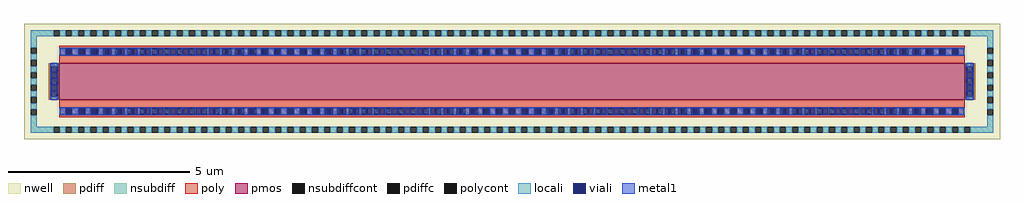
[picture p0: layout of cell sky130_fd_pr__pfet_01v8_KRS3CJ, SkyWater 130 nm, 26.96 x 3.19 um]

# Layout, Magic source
magic
tech sky130A
magscale 1 2
<< nwell >>
rect -2696 -319 2696 319
<< pmos >>
rect -2500 -100 2500 100
<< pdiff >>
rect -2558 85 -2500 100
rect -2558 51 -2546 85
rect -2512 51 -2500 85
rect -2558 17 -2500 51
rect -2558 -17 -2546 17
rect -2512 -17 -2500 17
rect -2558 -51 -2500 -17
rect -2558 -85 -2546 -51
rect -2512 -85 -2500 -51
rect -2558 -100 -2500 -85
rect 2500 85 2558 100
rect 2500 51 2512 85
rect 2546 51 2558 85
rect 2500 17 2558 51
rect 2500 -17 2512 17
rect 2546 -17 2558 17
rect 2500 -51 2558 -17
rect 2500 -85 2512 -51
rect 2546 -85 2558 -51
rect 2500 -100 2558 -85
<< pdiffc >>
rect -2546 51 -2512 85
rect -2546 -17 -2512 17
rect -2546 -85 -2512 -51
rect 2512 51 2546 85
rect 2512 -17 2546 17
rect 2512 -85 2546 -51
<< nsubdiff >>
rect -2660 249 -2533 283
rect -2499 249 -2465 283
rect -2431 249 -2397 283
rect -2363 249 -2329 283
rect -2295 249 -2261 283
rect -2227 249 -2193 283
rect -2159 249 -2125 283
rect -2091 249 -2057 283
rect -2023 249 -1989 283
rect -1955 249 -1921 283
rect -1887 249 -1853 283
rect -1819 249 -1785 283
rect -1751 249 -1717 283
rect -1683 249 -1649 283
rect -1615 249 -1581 283
rect -1547 249 -1513 283
rect -1479 249 -1445 283
rect -1411 249 -1377 283
rect -1343 249 -1309 283
rect -1275 249 -1241 283
rect -1207 249 -1173 283
rect -1139 249 -1105 283
rect -1071 249 -1037 283
rect -1003 249 -969 283
rect -935 249 -901 283
rect -867 249 -833 283
rect -799 249 -765 283
rect -731 249 -697 283
rect -663 249 -629 283
rect -595 249 -561 283
rect -527 249 -493 283
rect -459 249 -425 283
rect -391 249 -357 283
rect -323 249 -289 283
rect -255 249 -221 283
rect -187 249 -153 283
rect -119 249 -85 283
rect -51 249 -17 283
rect 17 249 51 283
rect 85 249 119 283
rect 153 249 187 283
rect 221 249 255 283
rect 289 249 323 283
rect 357 249 391 283
rect 425 249 459 283
rect 493 249 527 283
rect 561 249 595 283
rect 629 249 663 283
rect 697 249 731 283
rect 765 249 799 283
rect 833 249 867 283
rect 901 249 935 283
rect 969 249 1003 283
rect 1037 249 1071 283
rect 1105 249 1139 283
rect 1173 249 1207 283
rect 1241 249 1275 283
rect 1309 249 1343 283
rect 1377 249 1411 283
rect 1445 249 1479 283
rect 1513 249 1547 283
rect 1581 249 1615 283
rect 1649 249 1683 283
rect 1717 249 1751 283
rect 1785 249 1819 283
rect 1853 249 1887 283
rect 1921 249 1955 283
rect 1989 249 2023 283
rect 2057 249 2091 283
rect 2125 249 2159 283
rect 2193 249 2227 283
rect 2261 249 2295 283
rect 2329 249 2363 283
rect 2397 249 2431 283
rect 2465 249 2499 283
rect 2533 249 2660 283
rect -2660 187 -2626 249
rect -2660 119 -2626 153
rect 2626 187 2660 249
rect 2626 119 2660 153
rect -2660 51 -2626 85
rect -2660 -17 -2626 17
rect -2660 -85 -2626 -51
rect 2626 51 2660 85
rect 2626 -17 2660 17
rect 2626 -85 2660 -51
rect -2660 -153 -2626 -119
rect -2660 -249 -2626 -187
rect 2626 -153 2660 -119
rect 2626 -249 2660 -187
rect -2660 -283 -2533 -249
rect -2499 -283 -2465 -249
rect -2431 -283 -2397 -249
rect -2363 -283 -2329 -249
rect -2295 -283 -2261 -249
rect -2227 -283 -2193 -249
rect -2159 -283 -2125 -249
rect -2091 -283 -2057 -249
rect -2023 -283 -1989 -249
rect -1955 -283 -1921 -249
rect -1887 -283 -1853 -249
rect -1819 -283 -1785 -249
rect -1751 -283 -1717 -249
rect -1683 -283 -1649 -249
rect -1615 -283 -1581 -249
rect -1547 -283 -1513 -249
rect -1479 -283 -1445 -249
rect -1411 -283 -1377 -249
rect -1343 -283 -1309 -249
rect -1275 -283 -1241 -249
rect -1207 -283 -1173 -249
rect -1139 -283 -1105 -249
rect -1071 -283 -1037 -249
rect -1003 -283 -969 -249
rect -935 -283 -901 -249
rect -867 -283 -833 -249
rect -799 -283 -765 -249
rect -731 -283 -697 -249
rect -663 -283 -629 -249
rect -595 -283 -561 -249
rect -527 -283 -493 -249
rect -459 -283 -425 -249
rect -391 -283 -357 -249
rect -323 -283 -289 -249
rect -255 -283 -221 -249
rect -187 -283 -153 -249
rect -119 -283 -85 -249
rect -51 -283 -17 -249
rect 17 -283 51 -249
rect 85 -283 119 -249
rect 153 -283 187 -249
rect 221 -283 255 -249
rect 289 -283 323 -249
rect 357 -283 391 -249
rect 425 -283 459 -249
rect 493 -283 527 -249
rect 561 -283 595 -249
rect 629 -283 663 -249
rect 697 -283 731 -249
rect 765 -283 799 -249
rect 833 -283 867 -249
rect 901 -283 935 -249
rect 969 -283 1003 -249
rect 1037 -283 1071 -249
rect 1105 -283 1139 -249
rect 1173 -283 1207 -249
rect 1241 -283 1275 -249
rect 1309 -283 1343 -249
rect 1377 -283 1411 -249
rect 1445 -283 1479 -249
rect 1513 -283 1547 -249
rect 1581 -283 1615 -249
rect 1649 -283 1683 -249
rect 1717 -283 1751 -249
rect 1785 -283 1819 -249
rect 1853 -283 1887 -249
rect 1921 -283 1955 -249
rect 1989 -283 2023 -249
rect 2057 -283 2091 -249
rect 2125 -283 2159 -249
rect 2193 -283 2227 -249
rect 2261 -283 2295 -249
rect 2329 -283 2363 -249
rect 2397 -283 2431 -249
rect 2465 -283 2499 -249
rect 2533 -283 2660 -249
<< nsubdiffcont >>
rect -2533 249 -2499 283
rect -2465 249 -2431 283
rect -2397 249 -2363 283
rect -2329 249 -2295 283
rect -2261 249 -2227 283
rect -2193 249 -2159 283
rect -2125 249 -2091 283
rect -2057 249 -2023 283
rect -1989 249 -1955 283
rect -1921 249 -1887 283
rect -1853 249 -1819 283
rect -1785 249 -1751 283
rect -1717 249 -1683 283
rect -1649 249 -1615 283
rect -1581 249 -1547 283
rect -1513 249 -1479 283
rect -1445 249 -1411 283
rect -1377 249 -1343 283
rect -1309 249 -1275 283
rect -1241 249 -1207 283
rect -1173 249 -1139 283
rect -1105 249 -1071 283
rect -1037 249 -1003 283
rect -969 249 -935 283
rect -901 249 -867 283
rect -833 249 -799 283
rect -765 249 -731 283
rect -697 249 -663 283
rect -629 249 -595 283
rect -561 249 -527 283
rect -493 249 -459 283
rect -425 249 -391 283
rect -357 249 -323 283
rect -289 249 -255 283
rect -221 249 -187 283
rect -153 249 -119 283
rect -85 249 -51 283
rect -17 249 17 283
rect 51 249 85 283
rect 119 249 153 283
rect 187 249 221 283
rect 255 249 289 283
rect 323 249 357 283
rect 391 249 425 283
rect 459 249 493 283
rect 527 249 561 283
rect 595 249 629 283
rect 663 249 697 283
rect 731 249 765 283
rect 799 249 833 283
rect 867 249 901 283
rect 935 249 969 283
rect 1003 249 1037 283
rect 1071 249 1105 283
rect 1139 249 1173 283
rect 1207 249 1241 283
rect 1275 249 1309 283
rect 1343 249 1377 283
rect 1411 249 1445 283
rect 1479 249 1513 283
rect 1547 249 1581 283
rect 1615 249 1649 283
rect 1683 249 1717 283
rect 1751 249 1785 283
rect 1819 249 1853 283
rect 1887 249 1921 283
rect 1955 249 1989 283
rect 2023 249 2057 283
rect 2091 249 2125 283
rect 2159 249 2193 283
rect 2227 249 2261 283
rect 2295 249 2329 283
rect 2363 249 2397 283
rect 2431 249 2465 283
rect 2499 249 2533 283
rect -2660 153 -2626 187
rect -2660 85 -2626 119
rect 2626 153 2660 187
rect -2660 17 -2626 51
rect -2660 -51 -2626 -17
rect -2660 -119 -2626 -85
rect 2626 85 2660 119
rect 2626 17 2660 51
rect 2626 -51 2660 -17
rect -2660 -187 -2626 -153
rect 2626 -119 2660 -85
rect 2626 -187 2660 -153
rect -2533 -283 -2499 -249
rect -2465 -283 -2431 -249
rect -2397 -283 -2363 -249
rect -2329 -283 -2295 -249
rect -2261 -283 -2227 -249
rect -2193 -283 -2159 -249
rect -2125 -283 -2091 -249
rect -2057 -283 -2023 -249
rect -1989 -283 -1955 -249
rect -1921 -283 -1887 -249
rect -1853 -283 -1819 -249
rect -1785 -283 -1751 -249
rect -1717 -283 -1683 -249
rect -1649 -283 -1615 -249
rect -1581 -283 -1547 -249
rect -1513 -283 -1479 -249
rect -1445 -283 -1411 -249
rect -1377 -283 -1343 -249
rect -1309 -283 -1275 -249
rect -1241 -283 -1207 -249
rect -1173 -283 -1139 -249
rect -1105 -283 -1071 -249
rect -1037 -283 -1003 -249
rect -969 -283 -935 -249
rect -901 -283 -867 -249
rect -833 -283 -799 -249
rect -765 -283 -731 -249
rect -697 -283 -663 -249
rect -629 -283 -595 -249
rect -561 -283 -527 -249
rect -493 -283 -459 -249
rect -425 -283 -391 -249
rect -357 -283 -323 -249
rect -289 -283 -255 -249
rect -221 -283 -187 -249
rect -153 -283 -119 -249
rect -85 -283 -51 -249
rect -17 -283 17 -249
rect 51 -283 85 -249
rect 119 -283 153 -249
rect 187 -283 221 -249
rect 255 -283 289 -249
rect 323 -283 357 -249
rect 391 -283 425 -249
rect 459 -283 493 -249
rect 527 -283 561 -249
rect 595 -283 629 -249
rect 663 -283 697 -249
rect 731 -283 765 -249
rect 799 -283 833 -249
rect 867 -283 901 -249
rect 935 -283 969 -249
rect 1003 -283 1037 -249
rect 1071 -283 1105 -249
rect 1139 -283 1173 -249
rect 1207 -283 1241 -249
rect 1275 -283 1309 -249
rect 1343 -283 1377 -249
rect 1411 -283 1445 -249
rect 1479 -283 1513 -249
rect 1547 -283 1581 -249
rect 1615 -283 1649 -249
rect 1683 -283 1717 -249
rect 1751 -283 1785 -249
rect 1819 -283 1853 -249
rect 1887 -283 1921 -249
rect 1955 -283 1989 -249
rect 2023 -283 2057 -249
rect 2091 -283 2125 -249
rect 2159 -283 2193 -249
rect 2227 -283 2261 -249
rect 2295 -283 2329 -249
rect 2363 -283 2397 -249
rect 2431 -283 2465 -249
rect 2499 -283 2533 -249
<< poly >>
rect -2500 181 2500 197
rect -2500 147 -2465 181
rect -2431 147 -2397 181
rect -2363 147 -2329 181
rect -2295 147 -2261 181
rect -2227 147 -2193 181
rect -2159 147 -2125 181
rect -2091 147 -2057 181
rect -2023 147 -1989 181
rect -1955 147 -1921 181
rect -1887 147 -1853 181
rect -1819 147 -1785 181
rect -1751 147 -1717 181
rect -1683 147 -1649 181
rect -1615 147 -1581 181
rect -1547 147 -1513 181
rect -1479 147 -1445 181
rect -1411 147 -1377 181
rect -1343 147 -1309 181
rect -1275 147 -1241 181
rect -1207 147 -1173 181
rect -1139 147 -1105 181
rect -1071 147 -1037 181
rect -1003 147 -969 181
rect -935 147 -901 181
rect -867 147 -833 181
rect -799 147 -765 181
rect -731 147 -697 181
rect -663 147 -629 181
rect -595 147 -561 181
rect -527 147 -493 181
rect -459 147 -425 181
rect -391 147 -357 181
rect -323 147 -289 181
rect -255 147 -221 181
rect -187 147 -153 181
rect -119 147 -85 181
rect -51 147 -17 181
rect 17 147 51 181
rect 85 147 119 181
rect 153 147 187 181
rect 221 147 255 181
rect 289 147 323 181
rect 357 147 391 181
rect 425 147 459 181
rect 493 147 527 181
rect 561 147 595 181
rect 629 147 663 181
rect 697 147 731 181
rect 765 147 799 181
rect 833 147 867 181
rect 901 147 935 181
rect 969 147 1003 181
rect 1037 147 1071 181
rect 1105 147 1139 181
rect 1173 147 1207 181
rect 1241 147 1275 181
rect 1309 147 1343 181
rect 1377 147 1411 181
rect 1445 147 1479 181
rect 1513 147 1547 181
rect 1581 147 1615 181
rect 1649 147 1683 181
rect 1717 147 1751 181
rect 1785 147 1819 181
rect 1853 147 1887 181
rect 1921 147 1955 181
rect 1989 147 2023 181
rect 2057 147 2091 181
rect 2125 147 2159 181
rect 2193 147 2227 181
rect 2261 147 2295 181
rect 2329 147 2363 181
rect 2397 147 2431 181
rect 2465 147 2500 181
rect -2500 100 2500 147
rect -2500 -147 2500 -100
rect -2500 -181 -2465 -147
rect -2431 -181 -2397 -147
rect -2363 -181 -2329 -147
rect -2295 -181 -2261 -147
rect -2227 -181 -2193 -147
rect -2159 -181 -2125 -147
rect -2091 -181 -2057 -147
rect -2023 -181 -1989 -147
rect -1955 -181 -1921 -147
rect -1887 -181 -1853 -147
rect -1819 -181 -1785 -147
rect -1751 -181 -1717 -147
rect -1683 -181 -1649 -147
rect -1615 -181 -1581 -147
rect -1547 -181 -1513 -147
rect -1479 -181 -1445 -147
rect -1411 -181 -1377 -147
rect -1343 -181 -1309 -147
rect -1275 -181 -1241 -147
rect -1207 -181 -1173 -147
rect -1139 -181 -1105 -147
rect -1071 -181 -1037 -147
rect -1003 -181 -969 -147
rect -935 -181 -901 -147
rect -867 -181 -833 -147
rect -799 -181 -765 -147
rect -731 -181 -697 -147
rect -663 -181 -629 -147
rect -595 -181 -561 -147
rect -527 -181 -493 -147
rect -459 -181 -425 -147
rect -391 -181 -357 -147
rect -323 -181 -289 -147
rect -255 -181 -221 -147
rect -187 -181 -153 -147
rect -119 -181 -85 -147
rect -51 -181 -17 -147
rect 17 -181 51 -147
rect 85 -181 119 -147
rect 153 -181 187 -147
rect 221 -181 255 -147
rect 289 -181 323 -147
rect 357 -181 391 -147
rect 425 -181 459 -147
rect 493 -181 527 -147
rect 561 -181 595 -147
rect 629 -181 663 -147
rect 697 -181 731 -147
rect 765 -181 799 -147
rect 833 -181 867 -147
rect 901 -181 935 -147
rect 969 -181 1003 -147
rect 1037 -181 1071 -147
rect 1105 -181 1139 -147
rect 1173 -181 1207 -147
rect 1241 -181 1275 -147
rect 1309 -181 1343 -147
rect 1377 -181 1411 -147
rect 1445 -181 1479 -147
rect 1513 -181 1547 -147
rect 1581 -181 1615 -147
rect 1649 -181 1683 -147
rect 1717 -181 1751 -147
rect 1785 -181 1819 -147
rect 1853 -181 1887 -147
rect 1921 -181 1955 -147
rect 1989 -181 2023 -147
rect 2057 -181 2091 -147
rect 2125 -181 2159 -147
rect 2193 -181 2227 -147
rect 2261 -181 2295 -147
rect 2329 -181 2363 -147
rect 2397 -181 2431 -147
rect 2465 -181 2500 -147
rect -2500 -197 2500 -181
<< polycont >>
rect -2465 147 -2431 181
rect -2397 147 -2363 181
rect -2329 147 -2295 181
rect -2261 147 -2227 181
rect -2193 147 -2159 181
rect -2125 147 -2091 181
rect -2057 147 -2023 181
rect -1989 147 -1955 181
rect -1921 147 -1887 181
rect -1853 147 -1819 181
rect -1785 147 -1751 181
rect -1717 147 -1683 181
rect -1649 147 -1615 181
rect -1581 147 -1547 181
rect -1513 147 -1479 181
rect -1445 147 -1411 181
rect -1377 147 -1343 181
rect -1309 147 -1275 181
rect -1241 147 -1207 181
rect -1173 147 -1139 181
rect -1105 147 -1071 181
rect -1037 147 -1003 181
rect -969 147 -935 181
rect -901 147 -867 181
rect -833 147 -799 181
rect -765 147 -731 181
rect -697 147 -663 181
rect -629 147 -595 181
rect -561 147 -527 181
rect -493 147 -459 181
rect -425 147 -391 181
rect -357 147 -323 181
rect -289 147 -255 181
rect -221 147 -187 181
rect -153 147 -119 181
rect -85 147 -51 181
rect -17 147 17 181
rect 51 147 85 181
rect 119 147 153 181
rect 187 147 221 181
rect 255 147 289 181
rect 323 147 357 181
rect 391 147 425 181
rect 459 147 493 181
rect 527 147 561 181
rect 595 147 629 181
rect 663 147 697 181
rect 731 147 765 181
rect 799 147 833 181
rect 867 147 901 181
rect 935 147 969 181
rect 1003 147 1037 181
rect 1071 147 1105 181
rect 1139 147 1173 181
rect 1207 147 1241 181
rect 1275 147 1309 181
rect 1343 147 1377 181
rect 1411 147 1445 181
rect 1479 147 1513 181
rect 1547 147 1581 181
rect 1615 147 1649 181
rect 1683 147 1717 181
rect 1751 147 1785 181
rect 1819 147 1853 181
rect 1887 147 1921 181
rect 1955 147 1989 181
rect 2023 147 2057 181
rect 2091 147 2125 181
rect 2159 147 2193 181
rect 2227 147 2261 181
rect 2295 147 2329 181
rect 2363 147 2397 181
rect 2431 147 2465 181
rect -2465 -181 -2431 -147
rect -2397 -181 -2363 -147
rect -2329 -181 -2295 -147
rect -2261 -181 -2227 -147
rect -2193 -181 -2159 -147
rect -2125 -181 -2091 -147
rect -2057 -181 -2023 -147
rect -1989 -181 -1955 -147
rect -1921 -181 -1887 -147
rect -1853 -181 -1819 -147
rect -1785 -181 -1751 -147
rect -1717 -181 -1683 -147
rect -1649 -181 -1615 -147
rect -1581 -181 -1547 -147
rect -1513 -181 -1479 -147
rect -1445 -181 -1411 -147
rect -1377 -181 -1343 -147
rect -1309 -181 -1275 -147
rect -1241 -181 -1207 -147
rect -1173 -181 -1139 -147
rect -1105 -181 -1071 -147
rect -1037 -181 -1003 -147
rect -969 -181 -935 -147
rect -901 -181 -867 -147
rect -833 -181 -799 -147
rect -765 -181 -731 -147
rect -697 -181 -663 -147
rect -629 -181 -595 -147
rect -561 -181 -527 -147
rect -493 -181 -459 -147
rect -425 -181 -391 -147
rect -357 -181 -323 -147
rect -289 -181 -255 -147
rect -221 -181 -187 -147
rect -153 -181 -119 -147
rect -85 -181 -51 -147
rect -17 -181 17 -147
rect 51 -181 85 -147
rect 119 -181 153 -147
rect 187 -181 221 -147
rect 255 -181 289 -147
rect 323 -181 357 -147
rect 391 -181 425 -147
rect 459 -181 493 -147
rect 527 -181 561 -147
rect 595 -181 629 -147
rect 663 -181 697 -147
rect 731 -181 765 -147
rect 799 -181 833 -147
rect 867 -181 901 -147
rect 935 -181 969 -147
rect 1003 -181 1037 -147
rect 1071 -181 1105 -147
rect 1139 -181 1173 -147
rect 1207 -181 1241 -147
rect 1275 -181 1309 -147
rect 1343 -181 1377 -147
rect 1411 -181 1445 -147
rect 1479 -181 1513 -147
rect 1547 -181 1581 -147
rect 1615 -181 1649 -147
rect 1683 -181 1717 -147
rect 1751 -181 1785 -147
rect 1819 -181 1853 -147
rect 1887 -181 1921 -147
rect 1955 -181 1989 -147
rect 2023 -181 2057 -147
rect 2091 -181 2125 -147
rect 2159 -181 2193 -147
rect 2227 -181 2261 -147
rect 2295 -181 2329 -147
rect 2363 -181 2397 -147
rect 2431 -181 2465 -147
<< locali >>
rect -2660 249 -2533 283
rect -2499 249 -2465 283
rect -2431 249 -2397 283
rect -2363 249 -2329 283
rect -2295 249 -2261 283
rect -2227 249 -2193 283
rect -2159 249 -2125 283
rect -2091 249 -2057 283
rect -2023 249 -1989 283
rect -1955 249 -1921 283
rect -1887 249 -1853 283
rect -1819 249 -1785 283
rect -1751 249 -1717 283
rect -1683 249 -1649 283
rect -1615 249 -1581 283
rect -1547 249 -1513 283
rect -1479 249 -1445 283
rect -1411 249 -1377 283
rect -1343 249 -1309 283
rect -1275 249 -1241 283
rect -1207 249 -1173 283
rect -1139 249 -1105 283
rect -1071 249 -1037 283
rect -1003 249 -969 283
rect -935 249 -901 283
rect -867 249 -833 283
rect -799 249 -765 283
rect -731 249 -697 283
rect -663 249 -629 283
rect -595 249 -561 283
rect -527 249 -493 283
rect -459 249 -425 283
rect -391 249 -357 283
rect -323 249 -289 283
rect -255 249 -221 283
rect -187 249 -153 283
rect -119 249 -85 283
rect -51 249 -17 283
rect 17 249 51 283
rect 85 249 119 283
rect 153 249 187 283
rect 221 249 255 283
rect 289 249 323 283
rect 357 249 391 283
rect 425 249 459 283
rect 493 249 527 283
rect 561 249 595 283
rect 629 249 663 283
rect 697 249 731 283
rect 765 249 799 283
rect 833 249 867 283
rect 901 249 935 283
rect 969 249 1003 283
rect 1037 249 1071 283
rect 1105 249 1139 283
rect 1173 249 1207 283
rect 1241 249 1275 283
rect 1309 249 1343 283
rect 1377 249 1411 283
rect 1445 249 1479 283
rect 1513 249 1547 283
rect 1581 249 1615 283
rect 1649 249 1683 283
rect 1717 249 1751 283
rect 1785 249 1819 283
rect 1853 249 1887 283
rect 1921 249 1955 283
rect 1989 249 2023 283
rect 2057 249 2091 283
rect 2125 249 2159 283
rect 2193 249 2227 283
rect 2261 249 2295 283
rect 2329 249 2363 283
rect 2397 249 2431 283
rect 2465 249 2499 283
rect 2533 249 2660 283
rect -2660 187 -2626 249
rect 2626 187 2660 249
rect -2660 119 -2626 153
rect -2500 147 -2465 181
rect -2431 147 -2397 181
rect -2359 147 -2329 181
rect -2287 147 -2261 181
rect -2215 147 -2193 181
rect -2143 147 -2125 181
rect -2071 147 -2057 181
rect -1999 147 -1989 181
rect -1927 147 -1921 181
rect -1855 147 -1853 181
rect -1819 147 -1817 181
rect -1751 147 -1745 181
rect -1683 147 -1673 181
rect -1615 147 -1601 181
rect -1547 147 -1529 181
rect -1479 147 -1457 181
rect -1411 147 -1385 181
rect -1343 147 -1313 181
rect -1275 147 -1241 181
rect -1207 147 -1173 181
rect -1135 147 -1105 181
rect -1063 147 -1037 181
rect -991 147 -969 181
rect -919 147 -901 181
rect -847 147 -833 181
rect -775 147 -765 181
rect -703 147 -697 181
rect -631 147 -629 181
rect -595 147 -593 181
rect -527 147 -521 181
rect -459 147 -449 181
rect -391 147 -377 181
rect -323 147 -305 181
rect -255 147 -233 181
rect -187 147 -161 181
rect -119 147 -89 181
rect -51 147 -17 181
rect 17 147 51 181
rect 89 147 119 181
rect 161 147 187 181
rect 233 147 255 181
rect 305 147 323 181
rect 377 147 391 181
rect 449 147 459 181
rect 521 147 527 181
rect 593 147 595 181
rect 629 147 631 181
rect 697 147 703 181
rect 765 147 775 181
rect 833 147 847 181
rect 901 147 919 181
rect 969 147 991 181
rect 1037 147 1063 181
rect 1105 147 1135 181
rect 1173 147 1207 181
rect 1241 147 1275 181
rect 1313 147 1343 181
rect 1385 147 1411 181
rect 1457 147 1479 181
rect 1529 147 1547 181
rect 1601 147 1615 181
rect 1673 147 1683 181
rect 1745 147 1751 181
rect 1817 147 1819 181
rect 1853 147 1855 181
rect 1921 147 1927 181
rect 1989 147 1999 181
rect 2057 147 2071 181
rect 2125 147 2143 181
rect 2193 147 2215 181
rect 2261 147 2287 181
rect 2329 147 2359 181
rect 2397 147 2431 181
rect 2465 147 2500 181
rect 2626 119 2660 153
rect -2660 51 -2626 85
rect -2660 -17 -2626 17
rect -2660 -85 -2626 -51
rect -2546 85 -2512 104
rect -2546 17 -2512 19
rect -2546 -19 -2512 -17
rect -2546 -104 -2512 -85
rect 2512 85 2546 104
rect 2512 17 2546 19
rect 2512 -19 2546 -17
rect 2512 -104 2546 -85
rect 2626 51 2660 85
rect 2626 -17 2660 17
rect 2626 -85 2660 -51
rect -2660 -153 -2626 -119
rect -2500 -181 -2465 -147
rect -2431 -181 -2397 -147
rect -2359 -181 -2329 -147
rect -2287 -181 -2261 -147
rect -2215 -181 -2193 -147
rect -2143 -181 -2125 -147
rect -2071 -181 -2057 -147
rect -1999 -181 -1989 -147
rect -1927 -181 -1921 -147
rect -1855 -181 -1853 -147
rect -1819 -181 -1817 -147
rect -1751 -181 -1745 -147
rect -1683 -181 -1673 -147
rect -1615 -181 -1601 -147
rect -1547 -181 -1529 -147
rect -1479 -181 -1457 -147
rect -1411 -181 -1385 -147
rect -1343 -181 -1313 -147
rect -1275 -181 -1241 -147
rect -1207 -181 -1173 -147
rect -1135 -181 -1105 -147
rect -1063 -181 -1037 -147
rect -991 -181 -969 -147
rect -919 -181 -901 -147
rect -847 -181 -833 -147
rect -775 -181 -765 -147
rect -703 -181 -697 -147
rect -631 -181 -629 -147
rect -595 -181 -593 -147
rect -527 -181 -521 -147
rect -459 -181 -449 -147
rect -391 -181 -377 -147
rect -323 -181 -305 -147
rect -255 -181 -233 -147
rect -187 -181 -161 -147
rect -119 -181 -89 -147
rect -51 -181 -17 -147
rect 17 -181 51 -147
rect 89 -181 119 -147
rect 161 -181 187 -147
rect 233 -181 255 -147
rect 305 -181 323 -147
rect 377 -181 391 -147
rect 449 -181 459 -147
rect 521 -181 527 -147
rect 593 -181 595 -147
rect 629 -181 631 -147
rect 697 -181 703 -147
rect 765 -181 775 -147
rect 833 -181 847 -147
rect 901 -181 919 -147
rect 969 -181 991 -147
rect 1037 -181 1063 -147
rect 1105 -181 1135 -147
rect 1173 -181 1207 -147
rect 1241 -181 1275 -147
rect 1313 -181 1343 -147
rect 1385 -181 1411 -147
rect 1457 -181 1479 -147
rect 1529 -181 1547 -147
rect 1601 -181 1615 -147
rect 1673 -181 1683 -147
rect 1745 -181 1751 -147
rect 1817 -181 1819 -147
rect 1853 -181 1855 -147
rect 1921 -181 1927 -147
rect 1989 -181 1999 -147
rect 2057 -181 2071 -147
rect 2125 -181 2143 -147
rect 2193 -181 2215 -147
rect 2261 -181 2287 -147
rect 2329 -181 2359 -147
rect 2397 -181 2431 -147
rect 2465 -181 2500 -147
rect 2626 -153 2660 -119
rect -2660 -249 -2626 -187
rect 2626 -249 2660 -187
rect -2660 -283 -2533 -249
rect -2499 -283 -2465 -249
rect -2431 -283 -2397 -249
rect -2363 -283 -2329 -249
rect -2295 -283 -2261 -249
rect -2227 -283 -2193 -249
rect -2159 -283 -2125 -249
rect -2091 -283 -2057 -249
rect -2023 -283 -1989 -249
rect -1955 -283 -1921 -249
rect -1887 -283 -1853 -249
rect -1819 -283 -1785 -249
rect -1751 -283 -1717 -249
rect -1683 -283 -1649 -249
rect -1615 -283 -1581 -249
rect -1547 -283 -1513 -249
rect -1479 -283 -1445 -249
rect -1411 -283 -1377 -249
rect -1343 -283 -1309 -249
rect -1275 -283 -1241 -249
rect -1207 -283 -1173 -249
rect -1139 -283 -1105 -249
rect -1071 -283 -1037 -249
rect -1003 -283 -969 -249
rect -935 -283 -901 -249
rect -867 -283 -833 -249
rect -799 -283 -765 -249
rect -731 -283 -697 -249
rect -663 -283 -629 -249
rect -595 -283 -561 -249
rect -527 -283 -493 -249
rect -459 -283 -425 -249
rect -391 -283 -357 -249
rect -323 -283 -289 -249
rect -255 -283 -221 -249
rect -187 -283 -153 -249
rect -119 -283 -85 -249
rect -51 -283 -17 -249
rect 17 -283 51 -249
rect 85 -283 119 -249
rect 153 -283 187 -249
rect 221 -283 255 -249
rect 289 -283 323 -249
rect 357 -283 391 -249
rect 425 -283 459 -249
rect 493 -283 527 -249
rect 561 -283 595 -249
rect 629 -283 663 -249
rect 697 -283 731 -249
rect 765 -283 799 -249
rect 833 -283 867 -249
rect 901 -283 935 -249
rect 969 -283 1003 -249
rect 1037 -283 1071 -249
rect 1105 -283 1139 -249
rect 1173 -283 1207 -249
rect 1241 -283 1275 -249
rect 1309 -283 1343 -249
rect 1377 -283 1411 -249
rect 1445 -283 1479 -249
rect 1513 -283 1547 -249
rect 1581 -283 1615 -249
rect 1649 -283 1683 -249
rect 1717 -283 1751 -249
rect 1785 -283 1819 -249
rect 1853 -283 1887 -249
rect 1921 -283 1955 -249
rect 1989 -283 2023 -249
rect 2057 -283 2091 -249
rect 2125 -283 2159 -249
rect 2193 -283 2227 -249
rect 2261 -283 2295 -249
rect 2329 -283 2363 -249
rect 2397 -283 2431 -249
rect 2465 -283 2499 -249
rect 2533 -283 2660 -249
<< viali >>
rect -2465 147 -2431 181
rect -2393 147 -2363 181
rect -2363 147 -2359 181
rect -2321 147 -2295 181
rect -2295 147 -2287 181
rect -2249 147 -2227 181
rect -2227 147 -2215 181
rect -2177 147 -2159 181
rect -2159 147 -2143 181
rect -2105 147 -2091 181
rect -2091 147 -2071 181
rect -2033 147 -2023 181
rect -2023 147 -1999 181
rect -1961 147 -1955 181
rect -1955 147 -1927 181
rect -1889 147 -1887 181
rect -1887 147 -1855 181
rect -1817 147 -1785 181
rect -1785 147 -1783 181
rect -1745 147 -1717 181
rect -1717 147 -1711 181
rect -1673 147 -1649 181
rect -1649 147 -1639 181
rect -1601 147 -1581 181
rect -1581 147 -1567 181
rect -1529 147 -1513 181
rect -1513 147 -1495 181
rect -1457 147 -1445 181
rect -1445 147 -1423 181
rect -1385 147 -1377 181
rect -1377 147 -1351 181
rect -1313 147 -1309 181
rect -1309 147 -1279 181
rect -1241 147 -1207 181
rect -1169 147 -1139 181
rect -1139 147 -1135 181
rect -1097 147 -1071 181
rect -1071 147 -1063 181
rect -1025 147 -1003 181
rect -1003 147 -991 181
rect -953 147 -935 181
rect -935 147 -919 181
rect -881 147 -867 181
rect -867 147 -847 181
rect -809 147 -799 181
rect -799 147 -775 181
rect -737 147 -731 181
rect -731 147 -703 181
rect -665 147 -663 181
rect -663 147 -631 181
rect -593 147 -561 181
rect -561 147 -559 181
rect -521 147 -493 181
rect -493 147 -487 181
rect -449 147 -425 181
rect -425 147 -415 181
rect -377 147 -357 181
rect -357 147 -343 181
rect -305 147 -289 181
rect -289 147 -271 181
rect -233 147 -221 181
rect -221 147 -199 181
rect -161 147 -153 181
rect -153 147 -127 181
rect -89 147 -85 181
rect -85 147 -55 181
rect -17 147 17 181
rect 55 147 85 181
rect 85 147 89 181
rect 127 147 153 181
rect 153 147 161 181
rect 199 147 221 181
rect 221 147 233 181
rect 271 147 289 181
rect 289 147 305 181
rect 343 147 357 181
rect 357 147 377 181
rect 415 147 425 181
rect 425 147 449 181
rect 487 147 493 181
rect 493 147 521 181
rect 559 147 561 181
rect 561 147 593 181
rect 631 147 663 181
rect 663 147 665 181
rect 703 147 731 181
rect 731 147 737 181
rect 775 147 799 181
rect 799 147 809 181
rect 847 147 867 181
rect 867 147 881 181
rect 919 147 935 181
rect 935 147 953 181
rect 991 147 1003 181
rect 1003 147 1025 181
rect 1063 147 1071 181
rect 1071 147 1097 181
rect 1135 147 1139 181
rect 1139 147 1169 181
rect 1207 147 1241 181
rect 1279 147 1309 181
rect 1309 147 1313 181
rect 1351 147 1377 181
rect 1377 147 1385 181
rect 1423 147 1445 181
rect 1445 147 1457 181
rect 1495 147 1513 181
rect 1513 147 1529 181
rect 1567 147 1581 181
rect 1581 147 1601 181
rect 1639 147 1649 181
rect 1649 147 1673 181
rect 1711 147 1717 181
rect 1717 147 1745 181
rect 1783 147 1785 181
rect 1785 147 1817 181
rect 1855 147 1887 181
rect 1887 147 1889 181
rect 1927 147 1955 181
rect 1955 147 1961 181
rect 1999 147 2023 181
rect 2023 147 2033 181
rect 2071 147 2091 181
rect 2091 147 2105 181
rect 2143 147 2159 181
rect 2159 147 2177 181
rect 2215 147 2227 181
rect 2227 147 2249 181
rect 2287 147 2295 181
rect 2295 147 2321 181
rect 2359 147 2363 181
rect 2363 147 2393 181
rect 2431 147 2465 181
rect -2546 51 -2512 53
rect -2546 19 -2512 51
rect -2546 -51 -2512 -19
rect -2546 -53 -2512 -51
rect 2512 51 2546 53
rect 2512 19 2546 51
rect 2512 -51 2546 -19
rect 2512 -53 2546 -51
rect -2465 -181 -2431 -147
rect -2393 -181 -2363 -147
rect -2363 -181 -2359 -147
rect -2321 -181 -2295 -147
rect -2295 -181 -2287 -147
rect -2249 -181 -2227 -147
rect -2227 -181 -2215 -147
rect -2177 -181 -2159 -147
rect -2159 -181 -2143 -147
rect -2105 -181 -2091 -147
rect -2091 -181 -2071 -147
rect -2033 -181 -2023 -147
rect -2023 -181 -1999 -147
rect -1961 -181 -1955 -147
rect -1955 -181 -1927 -147
rect -1889 -181 -1887 -147
rect -1887 -181 -1855 -147
rect -1817 -181 -1785 -147
rect -1785 -181 -1783 -147
rect -1745 -181 -1717 -147
rect -1717 -181 -1711 -147
rect -1673 -181 -1649 -147
rect -1649 -181 -1639 -147
rect -1601 -181 -1581 -147
rect -1581 -181 -1567 -147
rect -1529 -181 -1513 -147
rect -1513 -181 -1495 -147
rect -1457 -181 -1445 -147
rect -1445 -181 -1423 -147
rect -1385 -181 -1377 -147
rect -1377 -181 -1351 -147
rect -1313 -181 -1309 -147
rect -1309 -181 -1279 -147
rect -1241 -181 -1207 -147
rect -1169 -181 -1139 -147
rect -1139 -181 -1135 -147
rect -1097 -181 -1071 -147
rect -1071 -181 -1063 -147
rect -1025 -181 -1003 -147
rect -1003 -181 -991 -147
rect -953 -181 -935 -147
rect -935 -181 -919 -147
rect -881 -181 -867 -147
rect -867 -181 -847 -147
rect -809 -181 -799 -147
rect -799 -181 -775 -147
rect -737 -181 -731 -147
rect -731 -181 -703 -147
rect -665 -181 -663 -147
rect -663 -181 -631 -147
rect -593 -181 -561 -147
rect -561 -181 -559 -147
rect -521 -181 -493 -147
rect -493 -181 -487 -147
rect -449 -181 -425 -147
rect -425 -181 -415 -147
rect -377 -181 -357 -147
rect -357 -181 -343 -147
rect -305 -181 -289 -147
rect -289 -181 -271 -147
rect -233 -181 -221 -147
rect -221 -181 -199 -147
rect -161 -181 -153 -147
rect -153 -181 -127 -147
rect -89 -181 -85 -147
rect -85 -181 -55 -147
rect -17 -181 17 -147
rect 55 -181 85 -147
rect 85 -181 89 -147
rect 127 -181 153 -147
rect 153 -181 161 -147
rect 199 -181 221 -147
rect 221 -181 233 -147
rect 271 -181 289 -147
rect 289 -181 305 -147
rect 343 -181 357 -147
rect 357 -181 377 -147
rect 415 -181 425 -147
rect 425 -181 449 -147
rect 487 -181 493 -147
rect 493 -181 521 -147
rect 559 -181 561 -147
rect 561 -181 593 -147
rect 631 -181 663 -147
rect 663 -181 665 -147
rect 703 -181 731 -147
rect 731 -181 737 -147
rect 775 -181 799 -147
rect 799 -181 809 -147
rect 847 -181 867 -147
rect 867 -181 881 -147
rect 919 -181 935 -147
rect 935 -181 953 -147
rect 991 -181 1003 -147
rect 1003 -181 1025 -147
rect 1063 -181 1071 -147
rect 1071 -181 1097 -147
rect 1135 -181 1139 -147
rect 1139 -181 1169 -147
rect 1207 -181 1241 -147
rect 1279 -181 1309 -147
rect 1309 -181 1313 -147
rect 1351 -181 1377 -147
rect 1377 -181 1385 -147
rect 1423 -181 1445 -147
rect 1445 -181 1457 -147
rect 1495 -181 1513 -147
rect 1513 -181 1529 -147
rect 1567 -181 1581 -147
rect 1581 -181 1601 -147
rect 1639 -181 1649 -147
rect 1649 -181 1673 -147
rect 1711 -181 1717 -147
rect 1717 -181 1745 -147
rect 1783 -181 1785 -147
rect 1785 -181 1817 -147
rect 1855 -181 1887 -147
rect 1887 -181 1889 -147
rect 1927 -181 1955 -147
rect 1955 -181 1961 -147
rect 1999 -181 2023 -147
rect 2023 -181 2033 -147
rect 2071 -181 2091 -147
rect 2091 -181 2105 -147
rect 2143 -181 2159 -147
rect 2159 -181 2177 -147
rect 2215 -181 2227 -147
rect 2227 -181 2249 -147
rect 2287 -181 2295 -147
rect 2295 -181 2321 -147
rect 2359 -181 2363 -147
rect 2363 -181 2393 -147
rect 2431 -181 2465 -147
<< metal1 >>
rect -2496 181 2496 187
rect -2496 147 -2465 181
rect -2431 147 -2393 181
rect -2359 147 -2321 181
rect -2287 147 -2249 181
rect -2215 147 -2177 181
rect -2143 147 -2105 181
rect -2071 147 -2033 181
rect -1999 147 -1961 181
rect -1927 147 -1889 181
rect -1855 147 -1817 181
rect -1783 147 -1745 181
rect -1711 147 -1673 181
rect -1639 147 -1601 181
rect -1567 147 -1529 181
rect -1495 147 -1457 181
rect -1423 147 -1385 181
rect -1351 147 -1313 181
rect -1279 147 -1241 181
rect -1207 147 -1169 181
rect -1135 147 -1097 181
rect -1063 147 -1025 181
rect -991 147 -953 181
rect -919 147 -881 181
rect -847 147 -809 181
rect -775 147 -737 181
rect -703 147 -665 181
rect -631 147 -593 181
rect -559 147 -521 181
rect -487 147 -449 181
rect -415 147 -377 181
rect -343 147 -305 181
rect -271 147 -233 181
rect -199 147 -161 181
rect -127 147 -89 181
rect -55 147 -17 181
rect 17 147 55 181
rect 89 147 127 181
rect 161 147 199 181
rect 233 147 271 181
rect 305 147 343 181
rect 377 147 415 181
rect 449 147 487 181
rect 521 147 559 181
rect 593 147 631 181
rect 665 147 703 181
rect 737 147 775 181
rect 809 147 847 181
rect 881 147 919 181
rect 953 147 991 181
rect 1025 147 1063 181
rect 1097 147 1135 181
rect 1169 147 1207 181
rect 1241 147 1279 181
rect 1313 147 1351 181
rect 1385 147 1423 181
rect 1457 147 1495 181
rect 1529 147 1567 181
rect 1601 147 1639 181
rect 1673 147 1711 181
rect 1745 147 1783 181
rect 1817 147 1855 181
rect 1889 147 1927 181
rect 1961 147 1999 181
rect 2033 147 2071 181
rect 2105 147 2143 181
rect 2177 147 2215 181
rect 2249 147 2287 181
rect 2321 147 2359 181
rect 2393 147 2431 181
rect 2465 147 2496 181
rect -2496 141 2496 147
rect -2552 53 -2506 100
rect -2552 19 -2546 53
rect -2512 19 -2506 53
rect -2552 -19 -2506 19
rect -2552 -53 -2546 -19
rect -2512 -53 -2506 -19
rect -2552 -100 -2506 -53
rect 2506 53 2552 100
rect 2506 19 2512 53
rect 2546 19 2552 53
rect 2506 -19 2552 19
rect 2506 -53 2512 -19
rect 2546 -53 2552 -19
rect 2506 -100 2552 -53
rect -2496 -147 2496 -141
rect -2496 -181 -2465 -147
rect -2431 -181 -2393 -147
rect -2359 -181 -2321 -147
rect -2287 -181 -2249 -147
rect -2215 -181 -2177 -147
rect -2143 -181 -2105 -147
rect -2071 -181 -2033 -147
rect -1999 -181 -1961 -147
rect -1927 -181 -1889 -147
rect -1855 -181 -1817 -147
rect -1783 -181 -1745 -147
rect -1711 -181 -1673 -147
rect -1639 -181 -1601 -147
rect -1567 -181 -1529 -147
rect -1495 -181 -1457 -147
rect -1423 -181 -1385 -147
rect -1351 -181 -1313 -147
rect -1279 -181 -1241 -147
rect -1207 -181 -1169 -147
rect -1135 -181 -1097 -147
rect -1063 -181 -1025 -147
rect -991 -181 -953 -147
rect -919 -181 -881 -147
rect -847 -181 -809 -147
rect -775 -181 -737 -147
rect -703 -181 -665 -147
rect -631 -181 -593 -147
rect -559 -181 -521 -147
rect -487 -181 -449 -147
rect -415 -181 -377 -147
rect -343 -181 -305 -147
rect -271 -181 -233 -147
rect -199 -181 -161 -147
rect -127 -181 -89 -147
rect -55 -181 -17 -147
rect 17 -181 55 -147
rect 89 -181 127 -147
rect 161 -181 199 -147
rect 233 -181 271 -147
rect 305 -181 343 -147
rect 377 -181 415 -147
rect 449 -181 487 -147
rect 521 -181 559 -147
rect 593 -181 631 -147
rect 665 -181 703 -147
rect 737 -181 775 -147
rect 809 -181 847 -147
rect 881 -181 919 -147
rect 953 -181 991 -147
rect 1025 -181 1063 -147
rect 1097 -181 1135 -147
rect 1169 -181 1207 -147
rect 1241 -181 1279 -147
rect 1313 -181 1351 -147
rect 1385 -181 1423 -147
rect 1457 -181 1495 -147
rect 1529 -181 1567 -147
rect 1601 -181 1639 -147
rect 1673 -181 1711 -147
rect 1745 -181 1783 -147
rect 1817 -181 1855 -147
rect 1889 -181 1927 -147
rect 1961 -181 1999 -147
rect 2033 -181 2071 -147
rect 2105 -181 2143 -147
rect 2177 -181 2215 -147
rect 2249 -181 2287 -147
rect 2321 -181 2359 -147
rect 2393 -181 2431 -147
rect 2465 -181 2496 -147
rect -2496 -187 2496 -181
<< properties >>
string FIXED_BBOX -2643 -266 2643 266
<< end >>
